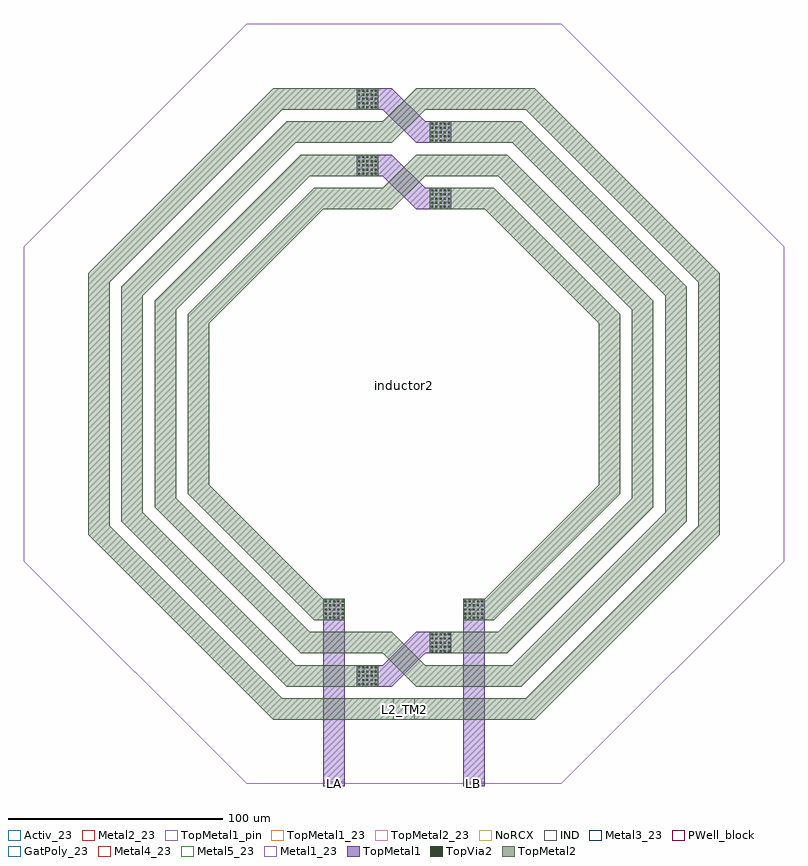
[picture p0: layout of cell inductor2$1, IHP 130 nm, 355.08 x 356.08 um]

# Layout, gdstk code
import gdstk
lib = gdstk.Library(unit=1e-6, precision=1e-09)
def R(c, l, rs):  # rectangles x0, y0, x1, y1
    for r in rs: c.add(gdstk.rectangle(r[:2], r[2:], *l))
def A(c, l, x, y, w, h, nx, ny, dx, dy):  # array of equal rectangles
    R(c, l, [(x+i*dx, y+j*dy, x+i*dx+w, y+j*dy+h) for i in range(nx) for j in range(ny)])
def P(c, l, *ps):  # polygons
    for p in ps: c.add(gdstk.Polygon(p, *l))
Activ_23 = (1, 23)
GatPoly_23 = (5, 23)
Metal1_23 = (8, 23)
Metal2_23 = (10, 23)
IND = (27, 0)
Metal3_23 = (30, 23)
PWell_block = (46, 21)
Metal4_23 = (50, 23)
Metal5_23 = (67, 23)
TopMetal1 = (126, 0)
TopMetal1_pin = (126, 2)
TopMetal1_23 = (126, 23)
TopVia2 = (133, 0)
TopMetal2 = (134, 0)
TopMetal2_23 = (134, 23)
NoRCX = (148, 0)

inductor2_1 = lib.new_cell('inductor2$1')
P(inductor2_1, Activ_23, [(-73.535,0),(-177.54,104.005),(-177.54,251.075),(-73.535,355.08),(73.535,355.08),(177.54,251.075),(177.54,104.005),(73.535,0)])
P(inductor2_1, GatPoly_23, [(-73.535,0),(-177.54,104.005),(-177.54,251.075),(-73.535,355.08),(73.535,355.08),(177.54,251.075),(177.54,104.005),(73.535,0)])
P(inductor2_1, Metal1_23, [(-73.535,0),(-177.54,104.005),(-177.54,251.075),(-73.535,355.08),(73.535,355.08),(177.54,251.075),(177.54,104.005),(73.535,0)])
P(inductor2_1, Metal2_23, [(-73.535,0),(-177.54,104.005),(-177.54,251.075),(-73.535,355.08),(73.535,355.08),(177.54,251.075),(177.54,104.005),(73.535,0)])
R(inductor2_1, IND, [(-5.01,29.99,5.01,40.01)])
P(inductor2_1, Metal3_23, [(-73.535,0),(-177.54,104.005),(-177.54,251.075),(-73.535,355.08),(73.535,355.08),(177.54,251.075),(177.54,104.005),(73.535,0)])
P(inductor2_1, PWell_block, [(-73.535,0),(-177.54,104.005),(-177.54,251.075),(-73.535,355.08),(73.535,355.08),(177.54,251.075),(177.54,104.005),(73.535,0)])
P(inductor2_1, Metal4_23, [(-73.535,0),(-177.54,104.005),(-177.54,251.075),(-73.535,355.08),(73.535,355.08),(177.54,251.075),(177.54,104.005),(73.535,0)])
P(inductor2_1, Metal5_23, [(-73.535,0),(-177.54,104.005),(-177.54,251.075),(-73.535,355.08),(73.535,355.08),(177.54,251.075),(177.54,104.005),(73.535,0)])
P(inductor2_1, TopMetal1, [(5.7,268.5),(-9.82,284.02),(-22.115,284.02),(-22.115,294.02),(-5.7,294.02),(9.82,278.5),(22.115,278.5),(22.115,268.5)],
  [(5.7,299.54),(-9.82,315.06),(-22.115,315.06),(-22.115,325.06),(-5.7,325.06),(9.82,309.54),(22.115,309.54),(22.115,299.54)],
  [(-22.115,45.5),(-22.115,55.5),(-9.83,55.5),(5.67,71),(22.125,71),(22.125,61),(9.82,61),(-5.68,45.5)])
R(inductor2_1, TopMetal1_pin, [(-37.615,-1,-27.615,1), (27.615,-1,37.615,1)])
P(inductor2_1, TopMetal1_23, [(-73.535,0),(-177.54,104.005),(-177.54,251.075),(-73.535,355.08),(73.535,355.08),(177.54,251.075),(177.54,104.005),(73.535,0)])
A(inductor2_1, TopVia2, -21.485, 46.13, 0.9, 0.9, 5, 5, 1.96, 1.96)
A(inductor2_1, TopVia2, 12.755, 61.63, 0.9, 0.9, 5, 5, 1.96, 1.96)
A(inductor2_1, TopVia2, -36.985, 77.13, 0.9, 0.9, 5, 5, 1.96, 1.96)
A(inductor2_1, TopVia2, 28.245, 77.13, 0.9, 0.9, 5, 5, 1.96, 1.96)
A(inductor2_1, TopVia2, 12.745, 269.13, 0.9, 0.9, 5, 5, 1.96, 1.96)
A(inductor2_1, TopVia2, -21.485, 284.63, 0.9, 0.9, 5, 5, 1.96, 1.96)
A(inductor2_1, TopVia2, 12.745, 300.17, 0.9, 0.9, 5, 5, 1.96, 1.96)
A(inductor2_1, TopVia2, -21.485, 315.67, 0.9, 0.9, 5, 5, 1.96, 1.96)
R(inductor2_1, TopMetal2, [(-12.115,30,12.115,40)])
P(inductor2_1, TopMetal2, [(27.615,76.5),(27.615,86.5),(37.69,86.5),(91,139.81),(91,215.19),(37.69,268.5),(12.115,268.5),(12.115,278.5),(41.84,278.5),(101,219.34),(101,135.66),(41.84,76.5)],
  [(-41.84,76.5),(-101,135.66),(-101,219.34),(-41.84,278.5),(-12.115,278.5),(-12.115,268.5),(-37.69,268.5),(-91,215.19),(-91,139.81),(-37.69,86.5),(-27.615,86.5),(-27.615,76.5)],
  [(-12.115,268.5),(-12.115,278.5),(-9.82,278.5),(5.7,294.02),(12.115,294.02),(12.115,284.02),(9.85,284.02),(-5.67,268.5)],
  [(12.115,61),(12.115,71),(44.115,71),(106.51,133.395),(106.51,221.625),(44.115,284.02),(12.115,284.02),(12.115,294.02),(48.265,294.02),(116.51,225.775),(116.51,129.245),(48.265,61)],
  [(-48.265,61),(-116.51,129.245),(-116.51,225.775),(-48.265,294.02),(-12.115,294.02),(-12.115,284.02),(-44.115,284.02),(-106.51,221.625),(-106.51,133.395),(-44.115,71),(-12.115,71),(-12.115,61)],
  [(12.115,45.5),(12.115,55.5),(50.54,55.5),(122.02,126.98),(122.02,228.06),(50.54,299.54),(12.115,299.54),(12.115,309.54),(54.69,309.54),(132.02,232.21),(132.02,122.83),(54.69,45.5)],
  [(-54.69,45.5),(-132.02,122.83),(-132.02,232.21),(-54.69,309.54),(-12.115,309.54),(-12.115,299.54),(-50.54,299.54),(-122.02,228.06),(-122.02,126.98),(-50.54,55.5),(-12.115,55.5),(-12.115,45.5)],
  [(-12.115,299.54),(-12.115,309.54),(-9.82,309.54),(5.7,325.06),(12.115,325.06),(12.115,315.06),(9.85,315.06),(-5.67,299.54)],
  [(5.68,45.5),(-9.82,61),(-12.115,61),(-12.115,71),(-5.67,71),(9.83,55.5),(12.115,55.5),(12.115,45.5)],
  [(12.115,30),(12.115,40),(56.965,40),(137.53,120.565),(137.53,234.495),(56.965,315.06),(12.115,315.06),(12.115,325.06),(61.115,325.06),(147.53,238.645),(147.53,116.415),(61.115,30)],
  [(-61.115,30),(-147.53,116.415),(-147.53,238.645),(-61.115,325.06),(-12.115,325.06),(-12.115,315.06),(-56.965,315.06),(-137.53,234.495),(-137.53,120.565),(-56.965,40),(-12.115,40),(-12.115,30)])
P(inductor2_1, TopMetal2_23, [(-73.535,0),(-177.54,104.005),(-177.54,251.075),(-73.535,355.08),(73.535,355.08),(177.54,251.075),(177.54,104.005),(73.535,0)])
P(inductor2_1, NoRCX, [(-73.535,0),(-177.54,104.005),(-177.54,251.075),(-73.535,355.08),(73.535,355.08),(177.54,251.075),(177.54,104.005),(73.535,0)])
inductor2_1.add(gdstk.FlexPath([(32.615,-1),(32.615,86.5)], 10, ends="flush", simple_path=True, layer=126, datatype=0))  # TopMetal1
inductor2_1.add(gdstk.FlexPath([(-32.615,-1),(-32.615,86.5)], 10, ends="flush", simple_path=True, layer=126, datatype=0))  # TopMetal1
inductor2_1.add(gdstk.Label('L2_TM2', (0,35), layer=63, texttype=0))
inductor2_1.add(gdstk.Label('LB', (32.615,0), layer=63, texttype=0))
inductor2_1.add(gdstk.Label('LA', (-32.615,0), layer=63, texttype=0))
inductor2_1.add(gdstk.Label('inductor2', (0,186.105), layer=63, texttype=0))

lib.write_gds('inductor2_1.gds')
